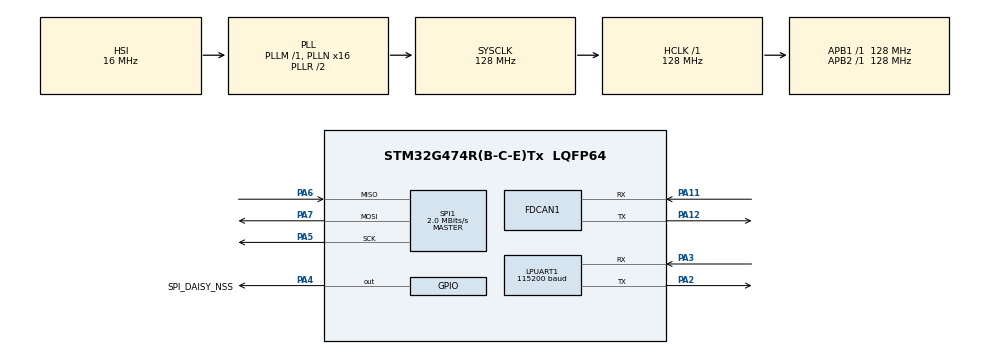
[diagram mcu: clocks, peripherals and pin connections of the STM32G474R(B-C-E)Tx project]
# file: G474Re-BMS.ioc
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FDCAN1.AutoRetransmission=ENABLE
FDCAN1.CalculateBaudRateNominal=500000
FDCAN1.CalculateTimeBitNominal=2000
FDCAN1.CalculateTimeQuantumNominal=125.0
FDCAN1.ClockDivider=FDCAN_CLOCK_DIV1
FDCAN1.DataPrescaler=16
FDCAN1.DataTimeSeg1=13
FDCAN1.DataTimeSeg2=2
FDCAN1.NominalPrescaler=16
FDCAN1.NominalTimeSeg1=13
FDCAN1.NominalTimeSeg2=2
LPUART1.BaudRate=115200
Mcu.Family=STM32G4
Mcu.Name=STM32G474R(B-C-E)Tx
Mcu.Package=LQFP64
Mcu.UserConstants=SPI_DAISY,$$_SPI1_IP_HANDLE_$$;UART_HANDLE,$$_LPUART1_IP_HANDLE_$$;FDCAN_HANDLE,$$_FDCAN1_IP_HANDLE_$$
NVIC.FDCAN1_IT0_IRQn=true\:0\:0\:false\:false\:true\:true\:true\:true
NVIC.PriorityGroup=NVIC_PRIORITYGROUP_4
PA11.Mode=FDCAN_Activate
PA11.Signal=FDCAN1_RX
PA12.Mode=FDCAN_Activate
PA12.Signal=FDCAN1_TX
PA13.GPIO_Label=T_SWDIO
PA13.Signal=SYS_JTMS-SWDIO
PA14.GPIO_Label=T_SWCLK
PA14.Signal=SYS_JTCK-SWCLK
PA2.Mode=Asynchronous
PA2.Signal=LPUART1_TX
PA3.Mode=Asynchronous
PA3.Signal=LPUART1_RX
PA4.GPIO_Label=SPI_DAISY_NSS
PA4.PinState=GPIO_PIN_SET
PA4.Signal=GPIO_Output
PA5.Mode=Full_Duplex_Master
PA5.Signal=SPI1_SCK
PA6.Mode=Full_Duplex_Master
PA6.Signal=SPI1_MISO
PA7.Mode=Full_Duplex_Master
PA7.Signal=SPI1_MOSI
PB3.GPIO_Label=T_SWO
PB3.Signal=SYS_JTDO-SWO
PC14-OSC32_IN.GPIO_Label=RCC_OSC32_IN
PC14-OSC32_IN.Signal=RCC_OSC32_IN
PC15-OSC32_OUT.GPIO_Label=RCC_OSC32_OUT
PC15-OSC32_OUT.Signal=RCC_OSC32_OUT
PF0-OSC_IN.GPIO_Label=RCC_OSC_IN
PF0-OSC_IN.Signal=RCC_OSC_IN
PF1-OSC_OUT.GPIO_Label=RCC_OSC_OUT
PF1-OSC_OUT.Signal=RCC_OSC_OUT
ProjectManager.HeapSize=0x200
ProjectManager.StackSize=0x400
ProjectManager.TargetToolchain=CMake
RCC.ADC12Freq_Value=128000000
RCC.ADC345Freq_Value=128000000
RCC.AHBFreq_Value=128000000
RCC.APB1Freq_Value=128000000
RCC.APB1TimFreq_Value=128000000
RCC.APB2Freq_Value=128000000
RCC.APB2TimFreq_Value=128000000
RCC.CK48CLockSelection=RCC_USBCLKSOURCE_HSI48
RCC.CortexFreq_Value=128000000
RCC.EXTERNAL_CLOCK_VALUE=12288000
RCC.HCLKFreq_Value=128000000
RCC.HSE_VALUE=24000000
RCC.HSI48_VALUE=48000000
RCC.HSI_VALUE=16000000
RCC.LSE_VALUE=32768
RCC.PLLN=16
RCC.RTCClockSelection=RCC_RTCCLKSOURCE_LSE
RCC.SYSCLKFreq_VALUE=128000000
RCC.SYSCLKSource=RCC_SYSCLKSOURCE_PLLCLK
RCC.USBFreq_Value=48000000
RCC.VCOOutputFreq_Value=256000000
SPI1.BaudRatePrescaler=SPI_BAUDRATEPRESCALER_64
SPI1.CLKPhase=SPI_PHASE_1EDGE
SPI1.CLKPolarity=SPI_POLARITY_LOW
SPI1.CRCCalculation=SPI_CRCCALCULATION_DISABLE
SPI1.CalculateBaudRate=2.0 MBits/s
SPI1.DataSize=SPI_DATASIZE_8BIT
SPI1.Direction=SPI_DIRECTION_2LINES
SPI1.Mode=SPI_MODE_MASTER
SPI1.VirtualType=VM_MASTER
VP_SYS_VS_DBSignals.Mode=DisableDeadBatterySignals
board=NUCLEO-G474RE

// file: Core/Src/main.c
/* USER CODE BEGIN Header */
/**
 ******************************************************************************
 * @file           : main.c
 * @brief          : Main program body
 ******************************************************************************
 * @attention
 *
 * Copyright (c) 2026 STMicroelectronics.
 * All rights reserved.
 *
 * This software is licensed under terms that can be found in the LICENSE file
 * in the root directory of this software component.
 * If no LICENSE file comes with this software, it is provided AS-IS.
 *
 ******************************************************************************
 */
/* USER CODE END Header */
#include "main.h"

#include "fdcan.h"
#include "gpio.h"
#include "spi.h"
#include "usart.h"

/* USER CODE BEGIN Includes */

#include "bms/bms.h"
#include "bms/config.h"

#include <stdio.h>

/* USER CODE END Includes */

void SystemClock_Config(void);

/* USER CODE BEGIN 0 */

// Redirect printf -> USB (LPUART1, CN1 connector)
#if PRINTF_IN_USB
#include "usart.h"

#include <unistd.h>

extern int _write_weak(int file, char *ptr, int len);

int _write(int const file, char *const ptr, int const len) {
  if (file != STDOUT_FILENO) {
    return _write_weak(file, ptr, len);
  }
#if DATA_IN_USB
  {
    int encoded_len = len;
    size_t i = 0;
    uint8_t leb128_size[sizeof(encoded_len) + 1];
    leb128_size[i++] = (encoded_len & 0x3f) | 0x80;
    encoded_len >>= 6;
    if (encoded_len) {
      leb128_size[0] |= 0x40;
      do {
        leb128_size[i++] = (encoded_len & 0x7f) | 0x80;
        encoded_len >>= 7;
      } while (encoded_len);
      leb128_size[i - 1] &= 0x7F;
    }
    uart_block_tx(leb128_size, i);
  }
#endif
  uart_block_tx((uint8_t *)ptr, len);
  return len;
}
#endif

/* USER CODE END 0 */

int main(void) {

  /* MCU Configuration--------------------------------------------------------*/

  /* Reset of all peripherals, Initializes the Flash interface and the Systick.
   */
  HAL_Init();

  /* Configure the system clock */
  SystemClock_Config();

  /* Initialize all configured peripherals */
  MX_GPIO_Init();
  MX_SPI1_Init();
  MX_LPUART1_UART_Init();
  MX_FDCAN1_Init();
  /* USER CODE BEGIN 2 */

  bms_setup();

  /* USER CODE END 2 */

  /* Infinite loop */
  /* USER CODE BEGIN WHILE */
  for (;;) {
    bms_loop();

    /* USER CODE END WHILE */

  }
}

void SystemClock_Config(void) {
  RCC_OscInitTypeDef RCC_OscInitStruct = {0};
  RCC_ClkInitTypeDef RCC_ClkInitStruct = {0};

  /** Configure the main internal regulator output voltage
   */
  HAL_PWREx_ControlVoltageScaling(PWR_REGULATOR_VOLTAGE_SCALE1);

  /** Initializes the RCC Oscillators according to the specified parameters
   * in the RCC_OscInitTypeDef structure.
   */
  RCC_OscInitStruct.OscillatorType = RCC_OSCILLATORTYPE_HSI;
  RCC_OscInitStruct.HSIState = RCC_HSI_ON;
  RCC_OscInitStruct.HSICalibrationValue = RCC_HSICALIBRATION_DEFAULT;
  RCC_OscInitStruct.PLL.PLLState = RCC_PLL_ON;
  RCC_OscInitStruct.PLL.PLLSource = RCC_PLLSOURCE_HSI;
  RCC_OscInitStruct.PLL.PLLM = RCC_PLLM_DIV1;
  RCC_OscInitStruct.PLL.PLLN = 16;
  RCC_OscInitStruct.PLL.PLLP = RCC_PLLP_DIV2;
  RCC_OscInitStruct.PLL.PLLQ = RCC_PLLQ_DIV2;
  RCC_OscInitStruct.PLL.PLLR = RCC_PLLR_DIV2;
  if (HAL_RCC_OscConfig(&RCC_OscInitStruct) != HAL_OK) {
    Error_Handler();
  }

  /** Initializes the CPU, AHB and APB buses clocks
   */
  RCC_ClkInitStruct.ClockType = RCC_CLOCKTYPE_HCLK | RCC_CLOCKTYPE_SYSCLK |
                                RCC_CLOCKTYPE_PCLK1 | RCC_CLOCKTYPE_PCLK2;
  RCC_ClkInitStruct.SYSCLKSource = RCC_SYSCLKSOURCE_PLLCLK;
  RCC_ClkInitStruct.AHBCLKDivider = RCC_SYSCLK_DIV1;
  RCC_ClkInitStruct.APB1CLKDivider = RCC_HCLK_DIV1;
  RCC_ClkInitStruct.APB2CLKDivider = RCC_HCLK_DIV1;

  if (HAL_RCC_ClockConfig(&RCC_ClkInitStruct, FLASH_LATENCY_4) != HAL_OK) {
    Error_Handler();
  }
}

void Error_Handler(void) {
  /* USER CODE BEGIN Error_Handler_Debug */
  /* User can add his own implementation to report the HAL error return state */
  __disable_irq();
  static int first_error = 1;
  if (first_error) {
    first_error = 0; // Avoid infinite recursion
    TRACE("\n\n\n---FATAL ERROR---\n\n\n");
  }
  for (;;) {
  }
  /* USER CODE END Error_Handler_Debug */
}
#ifdef USE_FULL_ASSERT
/**
 * @brief  Reports the name of the source file and the source line number
 *         where the assert_param error has occurred.
 * @param  file: pointer to the source file name
 * @param  line: assert_param error line source number
 * @retval None
 */
void assert_failed(uint8_t *file, uint32_t line) {
  /* USER CODE BEGIN 6 */
  printf("\n\n\n---FATAL ERROR---\n\n\n### Assertion failed on %s:%lu\n",
         (char *)file, line);
  Error_Handler();
  /* USER CODE END 6 */
}
#endif /* USE_FULL_ASSERT */
